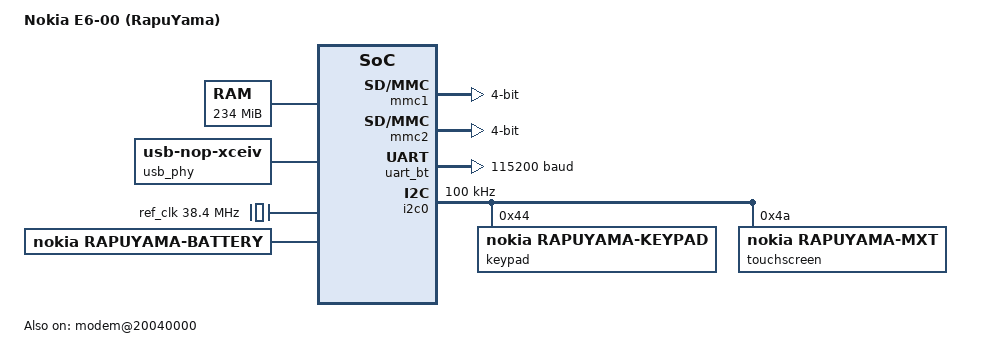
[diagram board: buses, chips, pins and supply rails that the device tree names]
/dts-v1/;

/* device tree for the nokia e6 (rapuyama, arm1176jzf-s r0p4, armv6k)
 *
 * peripheral addresses + register layouts are reversed from the firmware
 * drivers (karap/ekern/power.dll), see docs/driver-re.md. ram ends at
 * 0x20000000, everything from there up is mmio, NOT reserved dram like i thought
 * before. The booter leaves this fixed RAM range unchanged; the kernel is
 * configured with PHYS_OFFSET=0x11600000 to match it
 */

/ {
	compatible = "nokia,e6", "nokia,rapuyama";
	model = "Nokia E6-00 (RapuYama)";
	#address-cells = <1>;
	#size-cells = <1>;
	interrupt-parent = <&intc>;

	chosen {
		/* console = the bluetooth uart over the N8 test pads J6354 (our tx)
		 * / J6355 (our rx), 1.8 V! switch bluetooth on in symbian first so
		 * the block is powered/clocked/muxed. panic=10 + the pmic watchdog
		 * bring the phone back to symbian if it dies */
		bootargs = "earlycon=ramcon,0x1f000000 keep_bootcon console=ttyNULL panic=10 initcall_debug ignore_loglevel nohlt";
		stdout-path = &uart_bt;
	};

	cpus {
		#address-cells = <1>;
		#size-cells = <0>;
		cpu@0 {
			device_type = "cpu";
			compatible = "arm,arm1176jzf-s";
			reg = <0>;
		};
	};

	/* NOT all 256 mb: the bottom of ram belongs to the modem. the flash toc
	 * (core image file 0x140000, entries {flash off, size, -, -, load phys,
	 * name}) has nloader load the cellular firmware into dram:
	 *   SOS*DSP0  -> 0x10200000 +0x280000 (bb5 header CDSP)
	 *   SOS*ISASW -> 0x10480000 +0x300000 (bb5 header CMCU, the modem mcu sw)
	 *   PRIMAPP/NPC/CCC/HWC/LDSP/GENIO_INIT... -> 0x108c0000..0x10900000
	 * the modem runs from there for as long as the phone is on. with
	 * PHYS_OFFSET=0x10000000 the decompressor wrote the Image over all of it
	 * (0x10008000..0x11083820) -> the modem ran on until it hit bytes and
	 * reset the soc, the random 50-210 s death. symbian maps 0x10480000 in its
	 * hw window (c6200000), that was never a framebuffer.
	 * so linux starts at 0x11600000: above all of that and above shm@11525000,
	 * 2 mb aligned for ARM_PATCH_PHYS_VIRT. costs 22 mb */
	memory@11600000 {
		device_type = "memory";
		reg = <0x11600000 0x0ea00000>;
	};

	/* RAM earlycon buffer (earlycon=ramcon,0x1f000000). linux writes all printk
	 * here from the very start of setup_arch; survives the warm watchdog reset;
	 * driver/ramread.sis reads it back. reserved so the allocator keeps off it */
	reserved-memory {
		#address-cells = <1>;
		#size-cells = <1>;
		ranges;

		ramcon@1f000000 {
			reg = <0x1f000000 0x100000>;
			no-map;
		};

		/* ram symbian maps in its 0xc6 hw window next to the mmio (unfiltered
		 * sweep, logs/map (3).bin), so it's shared with something that isn't
		 * the arm: modem / secure side (power.dll + secldd use 0x1ffe8000 and
		 * 0x1ffec000). that something can keep writing after the jump, and
		 * linux used to put its first allocations right there (memblock
		 * hands out the top of ram first: vectors page, page tables). keep
		 * off them. mach-rapuyama watches them and logs any page that changes.
		 * NOT no-map: a no-map hole at the top of ram / off a 2 mb boundary
		 * makes arm (no highmem) drop all ram above 0x11400000 -> oom.
		 * 0x11525000 +0x2000 is below PHYS_OFFSET now, outside linux ram, so
		 * no node for it (a reserved node below PHYS_OFFSET breaks paging_init) */
		shm@1f8b0000 {
			reg = <0x1f8b0000 0x44d000>;
		};

		shm@1ffe0000 {
			reg = <0x1ffe0000 0x20000>;
		};
	};

	/* ULPI phy inside the Gazoo asic, symbian leaves it set up */
	usb_phy: usb-phy {
		compatible = "usb-nop-xceiv";
		#phy-cells = <0>;
	};

	clocks {
		/* 0x0249f000 all over the firmware */
		ref_clk: ref-clk {
			compatible = "fixed-clock";
			#clock-cells = <0>;
			clock-frequency = <38400000>;
		};
		/* NKern::FastCounterFrequency() returns 0x8000 */
		fc_clk: fc-clk {
			compatible = "fixed-clock";
			#clock-cells = <0>;
			clock-frequency = <32768>;
		};
		/* i2c functional clock, measured live 13.10 (regprobe): pll 192 mhz
		 * (0x20032644 = 0x1e2) / 8 (0x20033010 sel 4) = 24 mhz */
		i2c_fclk: i2c-fclk {
			compatible = "fixed-clock";
			#clock-cells = <0>;
			clock-frequency = <24000000>;
		};
		/* mmc functional clock, power_resources FUN_800c7fc0 types 0x23/0x24:
		 * pll 192 mhz / (0x20033010 bits 11:10 / 3:2 + 1) = /2 with the 0x4494
		 * symbian leaves, or 38.4 mhz if 0x20033090 bit 1/2 picks it. the
		 * higher one is the safe guess, a lower real rate only slows the card */
		mmc_fclk: mmc-fclk {
			compatible = "fixed-clock";
			#clock-cells = <0>;
			clock-frequency = <96000000>;
		};
	};

	soc {
		compatible = "simple-bus";
		#address-cells = <1>;
		#size-cells = <1>;
		ranges;

		/* ARM L220 outer cache (cache id 0x41000486), symbian's ekern keeps it on
		 * and maintains it by pa (+0x7b0/0x770/0x7f0). without this node dma
		 * reads stale ram */
		l2c: cache-controller@20500000 {
			compatible = "arm,l220-cache";
			reg = <0x20500000 0x1000>;
			cache-unified;
			cache-level = <2>;
		};

		/* karap irq/fiq dispatchers + Interrupt:: code, 421 lines */
		intc: interrupt-controller@20400000 {
			compatible = "nokia,rapuyama-intc";
			/* main bank + the 5 gpio/periph secondary banks (0x20033400) */
			reg = <0x20400000 0x4000>, <0x20033400 0x140>;
			interrupt-controller;
			#interrupt-cells = <1>;
		};

		/* ms timer (BindMsTick, irq 242) + free running 32k counter (NKern::FastCounter) */
		timer@20033780 {
			compatible = "nokia,rapuyama-timer";
			reg = <0x20033780 0x40>, <0x20033350 0x8>;
			interrupts = <242>;
			clocks = <&ref_clk>, <&fc_clk>;
			clock-names = "ref", "fc";
		};

		/* clock gates from power_resources.dll, index = PowerResourceManager
		 * resource id (0x11 = EHwClkI2C1 for i2c, 0x1f = BT uart clock), each
		 * one turns on its hw gates. all hang off the i2c fclk for now (only
		 * i2c uses a rate). 0x11 + 0x1f are critical = always on, symbian gates
		 * them when idle and touching those blocks with the clock off kills
		 * the phone (regprobe runs 1+2) */
		cgc: clock-controller@20032f00 {
			compatible = "nokia,rapuyama-cgc";
			reg = <0x20032f00 0x300>;
			clocks = <&i2c_fclk>;
			#clock-cells = <1>;
		};

		/* usb.dll: Mentor MUSB + TI OMAP2430 style otg wrapper at +0x400,
		 * ULPI phy in the Gazoo asic (left as symbian set it up). irq 183 =
		 * core, 215 = dma. off by default, e6-usb.dts turns it on */
		usb_otg: usb@20038800 {
			compatible = "nokia,rapuyama-musb";
			reg = <0x20038800 0x500>;
			interrupts = <183>, <215>;
			interrupt-names = "mc", "dma";
			/* EHwClkDomHSUSB (power domain + gates), EHwClkHSUSB, and
			 * EHwClkI2C0 + EHwClkDspSpi1, which usb.dll also asks for */
			clocks = <&cgc 0x0e>, <&cgc 0x0f>, <&cgc 0x10>, <&cgc 0x21>;
			phys = <&usb_phy>;
			dr_mode = "peripheral";
			status = "disabled";
		};

		/* EPBUSMV.DLL: two TI OMAP1/2420 style mmc controllers, tables at
		 * 0x80164558 (base 0/0x100), 0x80164568 (irq 0xad/0xab), 0x80164578
		 * (power resource 0x23/0x24, named EHwClkASIBT/ASIMusti but these
		 * are the ones EPBUSMV turns on). N8 schematic: microSD on MMC2.
		 * symbian clocks cards at most 24 mhz (min(0x80163b60 = 48, 24)) */
		mmc1: mmc@20032800 {
			compatible = "nokia,rapuyama-mmc", "ti,omap2420-mmc";
			reg = <0x20032800 0x80>;
			interrupts = <173>;
			clocks = <&cgc 0x23>, <&mmc_fclk>;
			clock-names = "ick", "fck";
			bus-width = <4>;
			broken-cd;
			max-frequency = <24000000>;
		};

		mmc2: mmc@20032900 {
			compatible = "nokia,rapuyama-mmc", "ti,omap2420-mmc";
			reg = <0x20032900 0x80>;
			interrupts = <171>;
			clocks = <&cgc 0x24>, <&mmc_fclk>;
			clock-names = "ick", "fck";
			bus-width = <4>;
			max-frequency = <24000000>;
		};

		/* bc02_uart1.PDD, the uart to the bluetooth chip (earlycon only) */
		uart_bt: serial@20025a00 {
			compatible = "nokia,rapuyama-uart";
			reg = <0x20025a00 0x100>;
			interrupts = <99>, <101>;
			clocks = <&cgc 0x1f>;
			current-speed = <115200>;
		};

		/* pmic watchdog over the cbus master + soc counter, symbian left both
		 * running. 3rd reg = soc reset (rebootdriver.ldd: write 2) */
		watchdog@20030700 {
			compatible = "nokia,rapuyama-wdt";
			reg = <0x20030700 0x40>, <0x200336c4 0x4>, <0x20033114 0x4>;
		};

		/* isasw hs i2c port 3, 32 bit registers and explicit clock/pad setup */
		i2c3: i2c@20032500 {
			compatible = "nokia,rapuyama-hs-i2c";
			reg = <0x20032500 0x80>, <0x20033000 0x100>,
			      <0x20031a00 0x40>, <0x2003264c 0x4>;
			clocks = <&cgc 0x13>;
			clock-names = "ick";
			clock-frequency = <100000>;
			#address-cells = <1>;
			#size-cells = <0>;
			status = "disabled";

			charger: charger@6b {
				compatible = "ti,bq24153";
				reg = <0x6b>;
				monitored-battery = <&battery>;
				ti,usb-charger-detection = <&usb_supply>;
				ti,current-limit = <500>;
				ti,weak-battery-voltage = <3400>;
				ti,battery-regulation-voltage = <4100>;
				ti,charge-current = <550>;
				ti,termination-current = <100>;
				ti,resistor-sense = <68>;
			};
		};

		/* battery from the gazoo adc behind the cbus above (rapuyama-battery.c) */
		battery: battery {
			compatible = "nokia,rapuyama-battery";
			nokia,charger = <&charger>;

			usb_supply: usb {
			};
		};

		/* modem (CMT) link. drives the EM "awake" keepalive that stops the
		 * random 50-210 s warm reset (rapuyama_modem.c). regs, in order:
		 *   0 modem control region (swirq 0x280/4/8 + per-channel resets)
		 *   1 TX byte FIFO (0x40100000 + chan*0x1000, ASIC send FUN_800beac8)
		 *   2 send doorbell (0x401fd800, write channel number)
		 *   3 clock controller (modem-interface bring-up, ecust FUN_800bede4)
		 * line 30 is optional: the irqchip owns the INTC ack (modem_link=1) */
		modem@20040000 {
			compatible = "nokia,rapuyama-modem";
			reg = <0x20040000 0x2000>, <0x40100000 0x1000>,
			      <0x401fd800 0x4>, <0x20032000 0x2000>;
			interrupts = <30>;
			status = "okay";
		};

		/* i2c0.dll: the TI OMAP i2c in the omap2420 layout, but with an 8 bit
		 * DATA reg (ti,omap2420-i2c zeroes every second byte). irq 0x96 */
		i2c0: i2c@20032200 {
			compatible = "nokia,rapuyama-i2c";
			reg = <0x20032200 0x40>;
			interrupts = <150>;
			clocks = <&cgc 0x11>;
			clock-names = "fck";
			clock-frequency = <100000>;	/* 400 kHz: keypad and touch stop answering (22.10.2026) */
			#address-cells = <1>;
			#size-cells = <0>;

			/* keypad chip: id reg 0x80 = 3 -> toshiba tc3589x (keypad_exp.dll
			 * Small25Pin class). driven by our polled rapuyama-keypad, the
			 * mainline tc3589x drivers reset it into a NACKing state.
			 * fifo code = row << 4 | col, mapped live with keyscan.
			 * MATRIX_KEY(row, col, code) = row << 24 | col << 16 | code,
			 * no cpp here so raw numbers. zh/eh keys = ; and ' like the
			 * pc russian layout. calendar gave the home code, power and
			 * the lock slider aren't on the matrix */
			keypad@44 {
				compatible = "nokia,rapuyama-keypad";
				reg = <0x44>;
				keypad,num-rows = <8>;
				keypad,num-columns = <7>;
				linux,keymap = <
					0x00000010 /* q */
					0x00010011 /* w */
					0x00020012 /* e */
					0x00030013 /* r */
					0x00040014 /* t */
					0x00050015 /* y */
					0x00060016 /* u */
					0x0100001e /* a */
					0x0101001f /* s */
					0x01020020 /* d */
					0x01030021 /* f */
					0x01040022 /* g */
					0x01050023 /* h */
					0x01060024 /* j */
					0x0200002c /* z */
					0x0201002d /* x */
					0x0202002e /* c */
					0x0203002f /* v */
					0x02040030 /* b */
					0x02050031 /* n */
					0x02060032 /* m */
					0x03000017 /* i */
					0x03010018 /* o */
					0x03020019 /* p */
					0x03030061 /* ctrl */
					0x030601bd /* call (KEY_PICKUP_PHONE) */
					0x04000025 /* k */
					0x04010026 /* l */
					0x0402000e /* backspace */
					0x04030073 /* volume up */
					0x0404002a /* shift */
					0x040600ac /* home (KEY_HOMEPAGE) */
					0x05000027 /* zh (;) */
					0x05010028 /* eh (') */
					0x0502001c /* enter */
					0x050401be /* end call (KEY_HANGUP_PHONE) */
					0x05050034 /* dot */
					0x05060072 /* volume down */
					0x0600007f /* sym (KEY_COMPOSE) */
					0x06010039 /* space */
					0x060301ad /* contacts (KEY_ADDRESSBOOK) */
					0x060401ae /* messages (KEY_MESSENGER) */
					0x06050033 /* comma */
					0x06060064 /* fn arrow (KEY_RIGHTALT = level 3 in xkb e6) */
					0x07000067 /* up */
					0x0701006c /* down */
					0x07020069 /* left */
					0x0703006a /* right */
					0x07040160 /* center (KEY_OK) */
					0x070600a4 /* play/pause */
				>;
			};

			/* atmel maXTouch, polled: irq gpio 123 polarity is unknown */
			touchscreen@4a {
				compatible = "nokia,rapuyama-mxt";
				reg = <0x4a>;
			};
		};

		/* egpio.dll, 5 in/out banks + 2 output only banks. second reg =
		 * pin irq enable/ack/trigger banks, each pin has its own intc line */
		gpio: gpio@20031900 {
			compatible = "nokia,rapuyama-gpio";
			reg = <0x20031900 0x200>, <0x20033400 0x140>;
			gpio-controller;
			#gpio-cells = <2>;
			interrupt-controller;
			#interrupt-cells = <2>;
		};
	};
};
